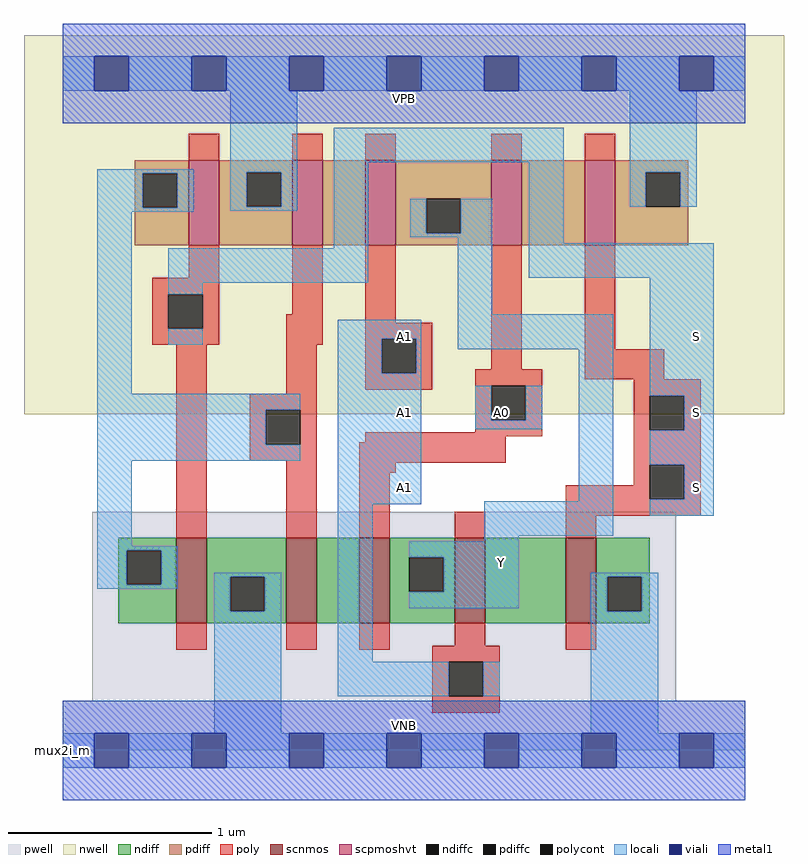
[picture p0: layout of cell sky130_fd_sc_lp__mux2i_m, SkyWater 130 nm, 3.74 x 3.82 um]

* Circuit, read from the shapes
.subckt sky130_fd_sc_lp__mux2i_m A0 A1 S VGND VNB VPB VPWR Y
XM1 VGND S n1 VNB sky130_fd_pr__nfet_01v8 w=0.42 l=0.15
XM2 n2 n1 VGND VNB sky130_fd_pr__nfet_01v8 w=0.42 l=0.15
XM3 Y A0 n2 VNB sky130_fd_pr__nfet_01v8 w=0.42 l=0.15
XM4 n3 A1 Y VNB sky130_fd_pr__nfet_01v8 w=0.42 l=0.15
XM5 VGND S n3 VNB sky130_fd_pr__nfet_01v8 w=0.42 l=0.15
XM6 VPWR S n1 VPB sky130_fd_pr__pfet_01v8_hvt w=0.42 l=0.15
XM7 n4 n1 VPWR VPB sky130_fd_pr__pfet_01v8_hvt w=0.42 l=0.15
XM8 Y A1 n4 VPB sky130_fd_pr__pfet_01v8_hvt w=0.42 l=0.15
XM9 n5 A0 Y VPB sky130_fd_pr__pfet_01v8_hvt w=0.42 l=0.15
XM10 VPWR S n5 VPB sky130_fd_pr__pfet_01v8_hvt w=0.42 l=0.15
.ends

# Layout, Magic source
magic
tech sky130A
magscale 1 2
<< nwell >>
rect -38 331 710 704
<< pwell >>
rect 29 49 604 235
rect 0 0 672 49
<< scnmos >>
rect 112 125 142 209
rect 220 125 250 209
rect 292 125 322 209
rect 386 125 416 209
rect 495 125 525 209
<< scpmoshvt >>
rect 124 497 154 581
rect 226 497 256 581
rect 298 497 328 581
rect 422 497 452 581
rect 514 497 544 581
<< ndiff >>
rect 55 197 112 209
rect 55 163 63 197
rect 97 163 112 197
rect 55 125 112 163
rect 142 171 220 209
rect 142 137 165 171
rect 199 137 220 171
rect 142 125 220 137
rect 250 125 292 209
rect 322 190 386 209
rect 322 156 341 190
rect 375 156 386 190
rect 322 125 386 156
rect 416 125 495 209
rect 525 171 578 209
rect 525 137 536 171
rect 570 137 578 171
rect 525 125 578 137
<< pdiff >>
rect 71 568 124 581
rect 71 534 79 568
rect 113 534 124 568
rect 71 497 124 534
rect 154 569 226 581
rect 154 535 181 569
rect 215 535 226 569
rect 154 497 226 535
rect 256 497 298 581
rect 328 543 422 581
rect 328 509 358 543
rect 392 509 422 543
rect 328 497 422 509
rect 452 497 514 581
rect 544 569 616 581
rect 544 535 574 569
rect 608 535 616 569
rect 544 497 616 535
<< ndiffc >>
rect 63 163 97 197
rect 165 137 199 171
rect 341 156 375 190
rect 536 137 570 171
<< pdiffc >>
rect 79 534 113 568
rect 181 535 215 569
rect 358 509 392 543
rect 574 535 608 569
<< poly >>
rect 124 581 154 607
rect 226 581 256 607
rect 298 581 328 607
rect 422 581 452 607
rect 514 581 544 607
rect 124 465 154 497
rect 88 449 154 465
rect 88 415 104 449
rect 138 415 154 449
rect 226 429 256 497
rect 88 399 154 415
rect 220 399 256 429
rect 298 421 328 497
rect 298 405 364 421
rect 112 209 142 399
rect 220 351 250 399
rect 298 371 314 405
rect 348 371 364 405
rect 422 375 452 497
rect 514 395 544 497
rect 298 355 364 371
rect 406 359 472 375
rect 514 365 592 395
rect 184 335 250 351
rect 184 301 200 335
rect 234 301 250 335
rect 406 325 422 359
rect 456 325 472 359
rect 406 313 472 325
rect 298 309 472 313
rect 562 349 628 365
rect 562 315 578 349
rect 612 315 628 349
rect 298 303 436 309
rect 184 285 250 301
rect 220 209 250 285
rect 292 283 436 303
rect 292 273 328 283
rect 562 281 628 315
rect 292 209 322 273
rect 562 261 578 281
rect 495 247 578 261
rect 612 247 628 281
rect 386 209 416 235
rect 495 231 628 247
rect 495 209 525 231
rect 112 99 142 125
rect 220 99 250 125
rect 292 99 322 125
rect 386 103 416 125
rect 364 87 430 103
rect 495 99 525 125
rect 364 53 380 87
rect 414 53 430 87
rect 364 37 430 53
<< polycont >>
rect 104 415 138 449
rect 314 371 348 405
rect 200 301 234 335
rect 422 325 456 359
rect 578 315 612 349
rect 578 247 612 281
rect 380 53 414 87
<< locali >>
rect 0 649 31 683
rect 65 649 127 683
rect 161 649 223 683
rect 257 649 319 683
rect 353 649 415 683
rect 449 649 511 683
rect 545 649 607 683
rect 641 649 672 683
rect 34 568 129 572
rect 34 534 79 568
rect 113 534 129 568
rect 34 530 129 534
rect 165 569 231 649
rect 165 535 181 569
rect 215 535 231 569
rect 165 531 231 535
rect 267 579 493 613
rect 34 351 68 530
rect 267 494 301 579
rect 342 509 358 543
rect 392 509 423 543
rect 342 505 423 509
rect 104 460 301 494
rect 104 449 138 460
rect 389 429 423 505
rect 459 499 493 579
rect 558 569 624 649
rect 558 535 574 569
rect 608 535 624 569
rect 459 465 641 499
rect 104 399 138 415
rect 271 405 353 424
rect 271 371 314 405
rect 348 371 353 405
rect 389 395 542 429
rect 34 335 234 351
rect 34 301 200 335
rect 34 285 234 301
rect 34 201 68 285
rect 271 242 353 371
rect 406 325 422 359
rect 456 325 472 359
rect 406 316 472 325
rect 508 245 542 395
rect 34 197 113 201
rect 34 163 63 197
rect 97 163 113 197
rect 34 159 113 163
rect 149 171 215 175
rect 149 137 165 171
rect 199 137 215 171
rect 149 17 215 137
rect 271 87 305 242
rect 415 211 542 245
rect 578 349 641 465
rect 612 315 641 349
rect 578 281 641 315
rect 612 247 641 281
rect 578 231 641 247
rect 415 206 449 211
rect 341 190 449 206
rect 375 156 449 190
rect 341 140 449 156
rect 520 171 586 175
rect 520 137 536 171
rect 570 137 586 171
rect 271 53 380 87
rect 414 53 430 87
rect 520 17 586 137
rect 0 -17 31 17
rect 65 -17 127 17
rect 161 -17 223 17
rect 257 -17 319 17
rect 353 -17 415 17
rect 449 -17 511 17
rect 545 -17 607 17
rect 641 -17 672 17
<< viali >>
rect 31 649 65 683
rect 127 649 161 683
rect 223 649 257 683
rect 319 649 353 683
rect 415 649 449 683
rect 511 649 545 683
rect 607 649 641 683
rect 31 -17 65 17
rect 127 -17 161 17
rect 223 -17 257 17
rect 319 -17 353 17
rect 415 -17 449 17
rect 511 -17 545 17
rect 607 -17 641 17
<< metal1 >>
rect 0 683 672 715
rect 0 649 31 683
rect 65 649 127 683
rect 161 649 223 683
rect 257 649 319 683
rect 353 649 415 683
rect 449 649 511 683
rect 545 649 607 683
rect 641 649 672 683
rect 0 617 672 649
rect 0 17 672 49
rect 0 -17 31 17
rect 65 -17 127 17
rect 161 -17 223 17
rect 257 -17 319 17
rect 353 -17 415 17
rect 449 -17 511 17
rect 545 -17 607 17
rect 641 -17 672 17
rect 0 -49 672 -17
<< labels >>
flabel pwell s 0 0 672 49 0 FreeSans 200 0 0 0 VNB
port 5 nsew ground bidirectional
flabel nwell s 0 617 672 666 0 FreeSans 200 0 0 0 VPB
port 6 nsew power bidirectional
rlabel comment s 0 0 0 0 4 mux2i_m
flabel metal1 s 0 617 672 666 0 FreeSans 340 0 0 0 VPWR
port 7 nsew power bidirectional
flabel metal1 s 0 0 672 49 0 FreeSans 340 0 0 0 VGND
port 4 nsew ground bidirectional
flabel locali s 415 316 449 350 0 FreeSans 340 0 0 0 A0
port 1 nsew signal input
flabel locali s 607 242 641 276 0 FreeSans 340 0 0 0 S
port 3 nsew signal input
flabel locali s 607 316 641 350 0 FreeSans 340 0 0 0 S
port 3 nsew signal input
flabel locali s 607 390 641 424 0 FreeSans 340 0 0 0 S
port 3 nsew signal input
flabel locali s 415 168 449 202 0 FreeSans 340 0 0 0 Y
port 8 nsew signal output
flabel locali s 319 242 353 276 0 FreeSans 340 0 0 0 A1
port 2 nsew signal input
flabel locali s 319 316 353 350 0 FreeSans 340 0 0 0 A1
port 2 nsew signal input
flabel locali s 319 390 353 424 0 FreeSans 340 0 0 0 A1
port 2 nsew signal input
<< properties >>
string LEFsite unit
string LEFclass CORE
string FIXED_BBOX 0 0 672 666
string GDS_FILE $PDKPATH/libs.ref/sky130_fd_sc_lp/gds/sky130_fd_sc_lp.gds
string LEFsymmetry X Y R90
string GDS_END 3921312
string GDS_START 3915298
<< end >>
